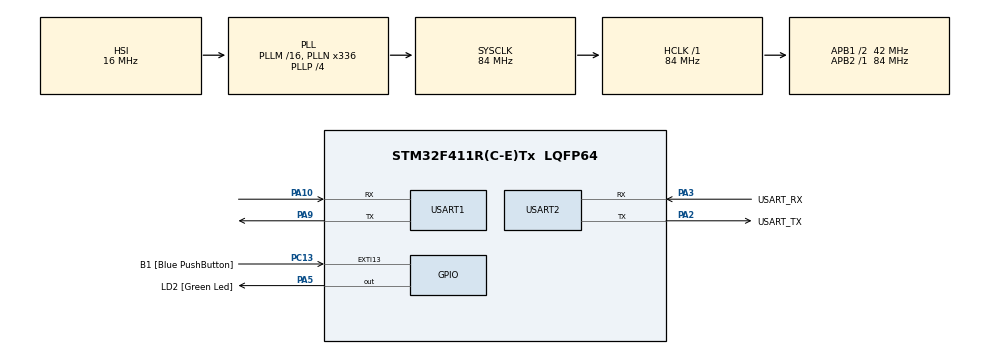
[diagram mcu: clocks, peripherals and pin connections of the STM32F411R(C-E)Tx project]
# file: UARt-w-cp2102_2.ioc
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Mcu.Family=STM32F4
Mcu.Name=STM32F411R(C-E)Tx
Mcu.Package=LQFP64
NVIC.PriorityGroup=NVIC_PRIORITYGROUP_0
NVIC.USART1_IRQn=true\:0\:0\:false\:false\:true\:true\:true\:true
NVIC.USART2_IRQn=true\:0\:0\:false\:false\:true\:true\:true\:true
PA10.Mode=Asynchronous
PA10.Signal=USART1_RX
PA13.GPIO_Label=TMS
PA13.Mode=Serial_Wire
PA13.Signal=SYS_JTMS-SWDIO
PA14.GPIO_Label=TCK
PA14.Mode=Serial_Wire
PA14.Signal=SYS_JTCK-SWCLK
PA2.GPIO_Label=USART_TX
PA2.Mode=Asynchronous
PA2.Signal=USART2_TX
PA3.GPIO_Label=USART_RX
PA3.Mode=Asynchronous
PA3.Signal=USART2_RX
PA5.GPIO_Label=LD2 [Green Led]
PA5.Signal=GPIO_Output
PA9.Mode=Asynchronous
PA9.Signal=USART1_TX
PB3.GPIO_Label=SWO
PB3.Signal=SYS_JTDO-SWO
PC13-ANTI_TAMP.GPIO_Label=B1 [Blue PushButton]
PC13-ANTI_TAMP.GPIO_ModeDefaultEXTI=GPIO_MODE_IT_FALLING
PC13-ANTI_TAMP.Signal=GPXTI13
PC14-OSC32_IN.Mode=LSE-External-Oscillator
PC14-OSC32_IN.Signal=RCC_OSC32_IN
PC15-OSC32_OUT.Mode=LSE-External-Oscillator
PC15-OSC32_OUT.Signal=RCC_OSC32_OUT
PH0\ -\ OSC_IN.Mode=HSE-External-Clock-Source
PH0\ -\ OSC_IN.Signal=RCC_OSC_IN
PH1\ -\ OSC_OUT.Mode=HSE-External-Clock-Source
PH1\ -\ OSC_OUT.Signal=RCC_OSC_OUT
ProjectManager.HeapSize=0x200
ProjectManager.StackSize=0x400
ProjectManager.TargetToolchain=STM32CubeIDE
RCC.48MHZClocksFreq_Value=84000000
RCC.AHBFreq_Value=84000000
RCC.APB1CLKDivider=RCC_HCLK_DIV2
RCC.APB1Freq_Value=42000000
RCC.APB1TimFreq_Value=84000000
RCC.APB2Freq_Value=84000000
RCC.APB2TimFreq_Value=84000000
RCC.CortexFreq_Value=84000000
RCC.FLatency-AdvancedSettings=FLASH_LATENCY_2
RCC.HCLKFreq_Value=84000000
RCC.HSE_VALUE=8000000
RCC.HSI_VALUE=16000000
RCC.PLLN=336
RCC.PLLP=RCC_PLLP_DIV4
RCC.SYSCLKFreq_VALUE=84000000
RCC.SYSCLKSource=RCC_SYSCLKSOURCE_PLLCLK
RCC.VCOOutputFreq_Value=336000000
USART1.VirtualMode=VM_ASYNC
USART2.VirtualMode=VM_ASYNC
board=NUCLEO-F411RE

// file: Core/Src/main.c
/* USER CODE BEGIN Header */
/**
  ******************************************************************************
  * @file           : main.c
  * @brief          : Main program body
  ******************************************************************************
  * @attention
  *
  * Copyright (c) 2024 STMicroelectronics.
  * All rights reserved.
  *
  * This software is licensed under terms that can be found in the LICENSE file
  * in the root directory of this software component.
  * If no LICENSE file comes with this software, it is provided AS-IS.
  *
  ******************************************************************************
  */
/* USER CODE END Header */
#include "main.h"

/* USER CODE BEGIN PD */
uint8_t tx_buffer[27];
uint8_t rx_indx;
uint8_t rx_data[1];
uint8_t rx_buffer[100];
uint8_t transfer_cplt;
/* USER CODE END PD */

UART_HandleTypeDef huart1;
UART_HandleTypeDef huart2;

void SystemClock_Config(void);
static void MX_GPIO_Init(void);
static void MX_USART2_UART_Init(void);
static void MX_USART1_UART_Init(void);

int main(void)
{

  /* USER CODE BEGIN 1 */
uint8_t selection;
  /* USER CODE END 1 */

  /* MCU Configuration--------------------------------------------------------*/

  /* Reset of all peripherals, Initializes the Flash interface and the Systick. */
  HAL_Init();

  /* Configure the system clock */
  SystemClock_Config();

  /* Initialize all configured peripherals */
  MX_GPIO_Init();
  MX_USART2_UART_Init();
  MX_USART1_UART_Init();
  /* USER CODE BEGIN 2 */
//  HAL_UART_Receive_IT(&huart2, rx_data, 1);
  /* USER CODE END 2 */

  /* Infinite loop */
  /* USER CODE BEGIN WHILE */
  while (1)
  {
//	  if(HAL_OK == HAL_UART_Receive(&huart2,rx_data,1,10)){
//	 	  	  	  HAL_UART_Transmit(&huart2,rx_data,1,10);}
	  if (HAL_UART_Receive(&huart1, &selection, 1, 0) == HAL_OK)
	  	  {
	  		  switch (selection)
	  		  {
	  			  case '1':
	  				  HAL_UART_Transmit(&huart1, "Option 1 has been selected\r\n", 28, 100);
	  				  break;

	  			  case '2':
	  				  HAL_UART_Transmit(&huart1, "Option 2 has been selected\r\n", 28, 100);
	  				  break;

	  			  case '3':
	  				  HAL_UART_Transmit(&huart1, "Option 3 has been selected\r\n", 28, 100);
	  				  break;

	  			  default:
	  				  HAL_UART_Transmit(&huart1, "Selected option is not available\r\n", 34, 100);
	  				  break;
	  		  }
	  	  }

    /* USER CODE END WHILE */

  }
}

void SystemClock_Config(void)
{
  RCC_OscInitTypeDef RCC_OscInitStruct = {0};
  RCC_ClkInitTypeDef RCC_ClkInitStruct = {0};

  /** Configure the main internal regulator output voltage
  */
  __HAL_RCC_PWR_CLK_ENABLE();
  __HAL_PWR_VOLTAGESCALING_CONFIG(PWR_REGULATOR_VOLTAGE_SCALE1);

  /** Initializes the RCC Oscillators according to the specified parameters
  * in the RCC_OscInitTypeDef structure.
  */
  RCC_OscInitStruct.OscillatorType = RCC_OSCILLATORTYPE_HSI;
  RCC_OscInitStruct.HSIState = RCC_HSI_ON;
  RCC_OscInitStruct.HSICalibrationValue = RCC_HSICALIBRATION_DEFAULT;
  RCC_OscInitStruct.PLL.PLLState = RCC_PLL_ON;
  RCC_OscInitStruct.PLL.PLLSource = RCC_PLLSOURCE_HSI;
  RCC_OscInitStruct.PLL.PLLM = 16;
  RCC_OscInitStruct.PLL.PLLN = 336;
  RCC_OscInitStruct.PLL.PLLP = RCC_PLLP_DIV4;
  RCC_OscInitStruct.PLL.PLLQ = 4;
  if (HAL_RCC_OscConfig(&RCC_OscInitStruct) != HAL_OK)
  {
    Error_Handler();
  }

  /** Initializes the CPU, AHB and APB buses clocks
  */
  RCC_ClkInitStruct.ClockType = RCC_CLOCKTYPE_HCLK|RCC_CLOCKTYPE_SYSCLK
                              |RCC_CLOCKTYPE_PCLK1|RCC_CLOCKTYPE_PCLK2;
  RCC_ClkInitStruct.SYSCLKSource = RCC_SYSCLKSOURCE_PLLCLK;
  RCC_ClkInitStruct.AHBCLKDivider = RCC_SYSCLK_DIV1;
  RCC_ClkInitStruct.APB1CLKDivider = RCC_HCLK_DIV2;
  RCC_ClkInitStruct.APB2CLKDivider = RCC_HCLK_DIV1;

  if (HAL_RCC_ClockConfig(&RCC_ClkInitStruct, FLASH_LATENCY_2) != HAL_OK)
  {
    Error_Handler();
  }
}

static void MX_USART1_UART_Init(void)
{

  huart1.Instance = USART1;
  huart1.Init.BaudRate = 115200;
  huart1.Init.WordLength = UART_WORDLENGTH_8B;
  huart1.Init.StopBits = UART_STOPBITS_1;
  huart1.Init.Parity = UART_PARITY_NONE;
  huart1.Init.Mode = UART_MODE_TX_RX;
  huart1.Init.HwFlowCtl = UART_HWCONTROL_NONE;
  huart1.Init.OverSampling = UART_OVERSAMPLING_16;
  if (HAL_UART_Init(&huart1) != HAL_OK)
  {
    Error_Handler();
  }

}

static void MX_USART2_UART_Init(void)
{

  huart2.Instance = USART2;
  huart2.Init.BaudRate = 115200;
  huart2.Init.WordLength = UART_WORDLENGTH_8B;
  huart2.Init.StopBits = UART_STOPBITS_1;
  huart2.Init.Parity = UART_PARITY_NONE;
  huart2.Init.Mode = UART_MODE_TX_RX;
  huart2.Init.HwFlowCtl = UART_HWCONTROL_NONE;
  huart2.Init.OverSampling = UART_OVERSAMPLING_16;
  if (HAL_UART_Init(&huart2) != HAL_OK)
  {
    Error_Handler();
  }

}

static void MX_GPIO_Init(void)
{
  GPIO_InitTypeDef GPIO_InitStruct = {0};

  /* GPIO Ports Clock Enable */
  __HAL_RCC_GPIOC_CLK_ENABLE();
  __HAL_RCC_GPIOH_CLK_ENABLE();
  __HAL_RCC_GPIOA_CLK_ENABLE();
  __HAL_RCC_GPIOB_CLK_ENABLE();

  /*Configure GPIO pin Output Level */
  HAL_GPIO_WritePin(LD2_GPIO_Port, LD2_Pin, GPIO_PIN_RESET);

  /*Configure GPIO pin : B1_Pin */
  GPIO_InitStruct.Pin = B1_Pin;
  GPIO_InitStruct.Mode = GPIO_MODE_IT_FALLING;
  GPIO_InitStruct.Pull = GPIO_NOPULL;
  HAL_GPIO_Init(B1_GPIO_Port, &GPIO_InitStruct);

  /*Configure GPIO pin : LD2_Pin */
  GPIO_InitStruct.Pin = LD2_Pin;
  GPIO_InitStruct.Mode = GPIO_MODE_OUTPUT_PP;
  GPIO_InitStruct.Pull = GPIO_NOPULL;
  GPIO_InitStruct.Speed = GPIO_SPEED_FREQ_LOW;
  HAL_GPIO_Init(LD2_GPIO_Port, &GPIO_InitStruct);

}

/* USER CODE BEGIN 4 */
//void HAL_UART_RxCpltCallback(UART_HandleTypeDef *huart)
//{
//  /* Prevent unused argument(s) compilation warning */
//  UNUSED(huart);
//  /* NOTE: This function should not be modified, when the callback is needed,
//           the HAL_UART_RxCpltCallback could be implemented in the user file
//   */
//  uint8_t i;
//  if(huart->Instance == USART2) {
//	     if(rx_indx == 0) {
//	    	 for(i=0;i<100;i++) {
//	    		 rx_buffer[i] = 0;
//	    		 HAL_GPIO_WritePin(GPIOA, GPIO_PIN_5, 0);
//	    	 }
//	    	 HAL_UART_Transmit(&huart2, "", 1,100);
//	    	 HAL_UART_Transmit(&huart2,rx_data,1,100);
//
//	    	 if(rx_data[0] != 13) {
//	    		 rx_buffer[rx_indx++] = rx_data[0];
//	    	 }
//	    	 else {
//	    		 transfer_cplt = 1;
//	    		 HAL_UART_Transmit(&huart2,"\n\r",2,100);
//	    		 if(strcmp(rx_buffer,"LED ON")) {
//	    			 HAL_GPIO_WritePin(GPIOA, GPIO_PIN_5, 1);
//	    		 }
//	    	 }
//	    	 HAL_UART_Receive_IT(&huart2, rx_data, 1);
//	    	 HAL_UART_Transmit(&huart2, strlen(rx_data), 1, 100);
//	     }
//
//
////		  HAL_UART_Transmit(&huart1, selection, strlen(selection), 10);
////		  HAL_UART_Receive_IT(&huart1, selection, 1);
//
//  }
//}
/* USER CODE END 4 */

void Error_Handler(void)
{
  __disable_irq();
  while (1)
  {
  }
}
